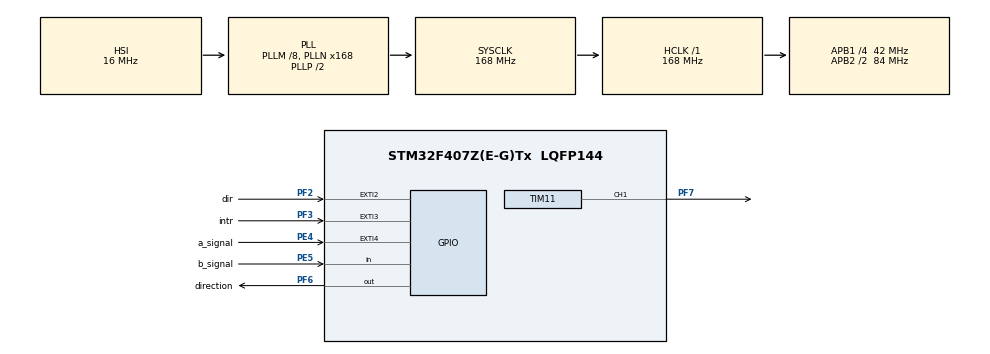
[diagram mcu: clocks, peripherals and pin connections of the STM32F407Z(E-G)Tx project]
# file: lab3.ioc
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Mcu.Family=STM32F4
Mcu.Name=STM32F407Z(E-G)Tx
Mcu.Package=LQFP144
NVIC.EXTI2_IRQn=true\:0\:0\:false\:false\:true\:true\:true\:true
NVIC.EXTI3_IRQn=true\:0\:0\:false\:false\:true\:true\:true\:true
NVIC.EXTI4_IRQn=true\:0\:0\:false\:false\:true\:true\:true\:true
NVIC.PriorityGroup=NVIC_PRIORITYGROUP_4
NVIC.TIM7_IRQn=true\:0\:0\:false\:false\:true\:true\:true\:true
PA13.Mode=Serial_Wire
PA13.Signal=SYS_JTMS-SWDIO
PA14.Mode=Serial_Wire
PA14.Signal=SYS_JTCK-SWCLK
PE4.GPIO_Label=a_signal
PE4.Signal=GPXTI4
PE5.GPIO_Label=b_signal
PE5.Signal=GPIO_Input
PF2.GPIO_Label=dir
PF2.Signal=GPXTI2
PF3.GPIO_Label=intr
PF3.Signal=GPXTI3
PF6.GPIO_Label=direction
PF6.Signal=GPIO_Output
PF7.Signal=S_TIM11_CH1
ProjectManager.HeapSize=0x200
ProjectManager.StackSize=0x400
ProjectManager.TargetToolchain=STM32CubeIDE
RCC.48MHZClocksFreq_Value=84000000
RCC.AHBFreq_Value=168000000
RCC.APB1CLKDivider=RCC_HCLK_DIV4
RCC.APB1Freq_Value=42000000
RCC.APB1TimFreq_Value=84000000
RCC.APB2CLKDivider=RCC_HCLK_DIV2
RCC.APB2Freq_Value=84000000
RCC.APB2TimFreq_Value=168000000
RCC.CortexFreq_Value=168000000
RCC.HCLKFreq_Value=168000000
RCC.HSE_VALUE=8000000
RCC.HSI_VALUE=16000000
RCC.LSE_VALUE=32768
RCC.PLLM=8
RCC.PLLN=168
RCC.SYSCLKFreq_VALUE=168000000
RCC.SYSCLKSource=RCC_SYSCLKSOURCE_PLLCLK
RCC.VCOOutputFreq_Value=336000000
SH.S_TIM11_CH1.0=TIM11_CH1,PWM Generation1 CH1
TIM11.Channel=TIM_CHANNEL_1
TIM11.Period=399
TIM11.Prescaler=0
TIM7.Period=499
TIM7.Prescaler=6399
TIM7.TIM_MasterOutputTrigger=TIM_TRGO_UPDATE
VP_TIM11_VS_ClockSourceINT.Mode=Enable_Timer
VP_TIM7_VS_ClockSourceINT.Mode=Enable_Timer
board=custom

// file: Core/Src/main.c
/* USER CODE BEGIN Header */
/**
  ******************************************************************************
  * @file           : main.c
  * @brief          : Main program body
  ******************************************************************************
  * @attention
  *
  * Copyright (c) 2023 STMicroelectronics.
  * All rights reserved.
  *
  * This software is licensed under terms that can be found in the LICENSE file
  * in the root directory of this software component.
  * If no LICENSE file comes with this software, it is provided AS-IS.
  *
  ******************************************************************************
  */
/* USER CODE END Header */
#include "main.h"
#include "tim.h"
#include "gpio.h"

/* USER CODE BEGIN PV */
uint16_t pulse_number = 0;
uint16_t rpm = 0;
uint16_t rpm1 = 0;
uint16_t rpm2 = 0;
float rpm_t = 0;

uint16_t K_value = 0;
uint16_t TAU_value = 0;
uint16_t direction = 0;
uint16_t position_pulse = 0;
uint16_t position = 0;

//uint16_t dir_control = 0;
//uint16_t temp = 0;
/* USER CODE END PV */

void SystemClock_Config(void);

int main(void)
{

  /* MCU Configuration--------------------------------------------------------*/

  /* Reset of all peripherals, Initializes the Flash interface and the Systick. */
  HAL_Init();

  /* Configure the system clock */
  SystemClock_Config();

  /* Initialize all configured peripherals */
  MX_GPIO_Init();
  MX_TIM11_Init();
  MX_TIM7_Init();
  /* USER CODE BEGIN 2 */
  HAL_TIM_Base_Start_IT(&htim7);
  TIM11->PSC = 55;
  TIM11->ARR = 199;
  TIM11->CCR1 = 99;
  HAL_TIM_PWM_Start(&htim11, TIM_CHANNEL_1);
  enum status {IDLE, K, TAU};
  enum status state;

  /* USER CODE END 2 */

  /* Infinite loop */
  /* USER CODE BEGIN WHILE */
  while (1)
  {
	  	  state=IDLE;
	 	  if(HAL_GPIO_ReadPin(GPIOF,GPIO_PIN_2)){
	 		  state = K;
	 	  }
	 	  else if(HAL_GPIO_ReadPin(GPIOF,GPIO_PIN_3)){
	 		  state = TAU;
	 	  }

	 	  TIM11->CCR1=400;
	 	  rpm1=(pulse_number*600)/400;

	 	  switch(state)
	 	  {

	 	  case K:

	 		  TIM11->CCR1=700;
	 		  HAL_Delay(2000);
	 		  rpm2=(pulse_number*600)/400;
	 		  K_value = (rpm2-rpm1)/((70-40)*12);
	 		  break;

	 	  case TAU:

	 		  break;
	 	  }
    /* USER CODE END WHILE */

  }
}

void SystemClock_Config(void)
{
  RCC_OscInitTypeDef RCC_OscInitStruct = {0};
  RCC_ClkInitTypeDef RCC_ClkInitStruct = {0};

  /** Configure the main internal regulator output voltage
  */
  __HAL_RCC_PWR_CLK_ENABLE();
  __HAL_PWR_VOLTAGESCALING_CONFIG(PWR_REGULATOR_VOLTAGE_SCALE1);

  /** Initializes the RCC Oscillators according to the specified parameters
  * in the RCC_OscInitTypeDef structure.
  */
  RCC_OscInitStruct.OscillatorType = RCC_OSCILLATORTYPE_HSI;
  RCC_OscInitStruct.HSIState = RCC_HSI_ON;
  RCC_OscInitStruct.HSICalibrationValue = RCC_HSICALIBRATION_DEFAULT;
  RCC_OscInitStruct.PLL.PLLState = RCC_PLL_ON;
  RCC_OscInitStruct.PLL.PLLSource = RCC_PLLSOURCE_HSI;
  RCC_OscInitStruct.PLL.PLLM = 8;
  RCC_OscInitStruct.PLL.PLLN = 168;
  RCC_OscInitStruct.PLL.PLLP = RCC_PLLP_DIV2;
  RCC_OscInitStruct.PLL.PLLQ = 4;
  if (HAL_RCC_OscConfig(&RCC_OscInitStruct) != HAL_OK)
  {
    Error_Handler();
  }

  /** Initializes the CPU, AHB and APB buses clocks
  */
  RCC_ClkInitStruct.ClockType = RCC_CLOCKTYPE_HCLK|RCC_CLOCKTYPE_SYSCLK
                              |RCC_CLOCKTYPE_PCLK1|RCC_CLOCKTYPE_PCLK2;
  RCC_ClkInitStruct.SYSCLKSource = RCC_SYSCLKSOURCE_PLLCLK;
  RCC_ClkInitStruct.AHBCLKDivider = RCC_SYSCLK_DIV1;
  RCC_ClkInitStruct.APB1CLKDivider = RCC_HCLK_DIV4;
  RCC_ClkInitStruct.APB2CLKDivider = RCC_HCLK_DIV2;

  if (HAL_RCC_ClockConfig(&RCC_ClkInitStruct, FLASH_LATENCY_5) != HAL_OK)
  {
    Error_Handler();
  }
}

/* USER CODE BEGIN 4 */
void HAL_TIM_PeriodElapsedCallback(TIM_HandleTypeDef *htim){
	if(htim -> Instance == TIM7){
		rpm = (pulse_number*600)/400 ;
		position = position_pulse % 400;
		pulse_number = 0;
	}
}
void HAL_GPIO_EXTI_Callback(uint16_t GPIO_Pin){
	if(GPIO_Pin == a_signal_Pin){
		pulse_number++;

		if(HAL_GPIO_ReadPin(b_signal_GPIO_Port,b_signal_Pin) == GPIO_PIN_SET){
			direction = 1;
			position_pulse--;
		}
		else {
			direction = 0;
				position_pulse++;
		}
	}

	if(GPIO_Pin == GPIO_PIN_2){
		HAL_GPIO_TogglePin(direction_GPIO_Port, direction_Pin);
//		if(dir_control == 0){
//			HAL_GPIO_WritePin(direction_GPIO_Port, direction_Pin, GPIO_PIN_SET);
//			dir_control = 1;
//		}
//		else{
//			HAL_GPIO_WritePin(direction_GPIO_Port, direction_Pin, GPIO_PIN_RESET);
//			dir_control = 0;
//		}
	}
}
/* USER CODE END 4 */

void Error_Handler(void)
{
  __disable_irq();
  while (1)
  {
  }
}
